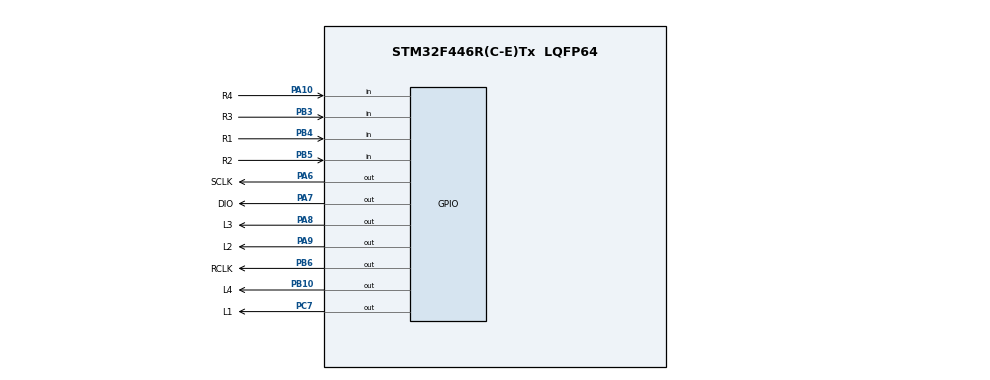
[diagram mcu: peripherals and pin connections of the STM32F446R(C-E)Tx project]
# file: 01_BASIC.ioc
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Mcu.Family=STM32F4
Mcu.Name=STM32F446R(C-E)Tx
Mcu.Package=LQFP64
NVIC.PriorityGroup=NVIC_PRIORITYGROUP_4
NVIC.TIM6_DAC_IRQn=true\:1\:0\:true\:false\:true\:true\:true\:true
NVIC.TIM7_IRQn=true\:0\:0\:false\:false\:true\:true\:true\:true
PA10.GPIO_Label=R4
PA10.GPIO_PuPd=GPIO_PULLUP
PA10.Signal=GPIO_Input
PA6.GPIO_Label=SCLK
PA6.Signal=GPIO_Output
PA7.GPIO_Label=DIO
PA7.Signal=GPIO_Output
PA8.GPIO_Label=L3
PA8.Signal=GPIO_Output
PA9.GPIO_Label=L2
PA9.Signal=GPIO_Output
PB10.GPIO_Label=L4
PB10.Signal=GPIO_Output
PB3.GPIO_Label=R3
PB3.GPIO_PuPd=GPIO_PULLUP
PB3.Signal=GPIO_Input
PB4.GPIO_Label=R1
PB4.GPIO_PuPd=GPIO_PULLUP
PB4.Signal=GPIO_Input
PB5.GPIO_Label=R2
PB5.GPIO_PuPd=GPIO_PULLUP
PB5.Signal=GPIO_Input
PB6.GPIO_Label=RCLK
PB6.Signal=GPIO_Output
PC7.GPIO_Label=L1
PC7.Signal=GPIO_Output
ProjectManager.HeapSize=0x200
ProjectManager.StackSize=0x400
ProjectManager.TargetToolchain=STM32CubeIDE
RCC.CortexFreq_Value=16000000
RCC.USBFreq_Value=96000000
RCC.VCOOutputFreq_Value=192000000
TIM6.Period=499
TIM6.Prescaler=15999
TIM7.Period=9
TIM7.Prescaler=1599
VP_TIM6_VS_ClockSourceINT.Mode=Enable_Timer
VP_TIM7_VS_ClockSourceINT.Mode=Enable_Timer
board=custom

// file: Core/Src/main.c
/* USER CODE BEGIN Header */
/**
  ******************************************************************************
  * @file           : main.c
  * @brief          : Main program body
  ******************************************************************************
  * @attention
  *
  * Copyright (c) 2025 STMicroelectronics.
  * All rights reserved.
  *
  * This software is licensed under terms that can be found in the LICENSE file
  * in the root directory of this software component.
  * If no LICENSE file comes with this software, it is provided AS-IS.
  *
  ******************************************************************************
  */
/* USER CODE END Header */
#include "main.h"

 TIM_HandleTypeDef htim6;
TIM_HandleTypeDef htim7;

/* USER CODE BEGIN PV */
GPIO_TypeDef* row_port[4] = {L1_GPIO_Port, L2_GPIO_Port, L3_GPIO_Port, L4_GPIO_Port};
uint16_t     row_pin [4] = {L1_Pin,      L2_Pin,      L3_Pin,      L4_Pin     };

GPIO_TypeDef* col_port[4] = {R1_GPIO_Port, R2_GPIO_Port, R3_GPIO_Port, R4_GPIO_Port};
uint16_t     col_pin [4] = {R1_Pin,      R2_Pin,      R3_Pin,      R4_Pin     };

#define MAX_SID_LEN 10
const uint8_t LED_CODE[] = {
  0xF9, // 1
  0xA4, // 2
  0xB0, // 3
  0x99, // 4
  0x92, // 5
  0x82, // 6
  0xF8, // 7
  0x80, // 8
  0x90, // 9
  0xFF, // *
  0xC0, // 0
  0xFF, // #
};
uint8_t LED_BUF[8] = {0xFF,0xFF,0xFF,0xFF,0xFF,0xFF,0xFF,0xFF};
uint8_t disp_ind = 0;
uint8_t cur_row=0, cur_col, key_value;

uint8_t sid_buf[MAX_SID_LEN];
uint8_t sid_len=0, sid_scroll_len=0, scroll_idx=0;
int8_t  scroll_dir=1;
uint8_t input_mode=0;

/* USER CODE END PV */

void SystemClock_Config(void);
static void MX_GPIO_Init(void);
static void MX_TIM7_Init(void);
static void MX_TIM6_Init(void);

/* USER CODE BEGIN 0 */
void out_595(uint8_t data)
{
  for (int i = 0; i < 8; i++) {
    HAL_GPIO_WritePin(SCLK_GPIO_Port, SCLK_Pin, GPIO_PIN_RESET);
    if (data & (0x80 >> i))
      HAL_GPIO_WritePin(DIO_GPIO_Port, DIO_Pin, GPIO_PIN_SET);
    else
      HAL_GPIO_WritePin(DIO_GPIO_Port, DIO_Pin, GPIO_PIN_RESET);
    HAL_GPIO_WritePin(SCLK_GPIO_Port, SCLK_Pin, GPIO_PIN_SET);
  }
}
/* USER CODE END 0 */

int main(void)
{

  /* MCU Configuration--------------------------------------------------------*/

  /* Reset of all peripherals, Initializes the Flash interface and the Systick. */
  HAL_Init();

  /* Configure the system clock */
  SystemClock_Config();

  /* Initialize all configured peripherals */
  MX_GPIO_Init();
  MX_TIM7_Init();
  MX_TIM6_Init();
  /* USER CODE BEGIN 2 */
  HAL_TIM_Base_Start_IT(&htim7);
  __HAL_TIM_DISABLE_IT(&htim6, TIM_IT_UPDATE);
  __HAL_TIM_DISABLE(&htim6);

  /* USER CODE END 2 */

  /* Infinite loop */
  /* USER CODE BEGIN WHILE */
  while (1)
  {
    /* 行拉高，逐行扫描 */
        for (int i = 0; i < 4; i++)
            HAL_GPIO_WritePin(row_port[i], row_pin[i], GPIO_PIN_SET);
        HAL_GPIO_WritePin(row_port[cur_row], row_pin[cur_row], GPIO_PIN_RESET);

        /* 只扫描前三列 */
        for (cur_col = 0; cur_col < 3; cur_col++) {
            if (HAL_GPIO_ReadPin(col_port[cur_col], col_pin[cur_col]) == GPIO_PIN_RESET) {
                HAL_Delay(20);
                if (HAL_GPIO_ReadPin(col_port[cur_col], col_pin[cur_col]) == GPIO_PIN_RESET) {
                    key_value = cur_row * 3 + cur_col;
                    /* # 键切换模�? */
                    if (key_value == 11) {
                        if (!input_mode) {
                            input_mode = 1; sid_len = 0; scroll_idx = 0;
                            for (int j = 0; j < 8; j++) LED_BUF[j] = 0xFF;
                            __HAL_TIM_DISABLE_IT(&htim6, TIM_IT_UPDATE);
                            __HAL_TIM_DISABLE(&htim6);
                        } else {
                            input_mode = 0;
                            sid_scroll_len = sid_len + 2;
                            scroll_idx = 0;
                            __HAL_TIM_CLEAR_IT(&htim6, TIM_IT_UPDATE);
                            __HAL_TIM_ENABLE_IT(&htim6, TIM_IT_UPDATE);
                            __HAL_TIM_ENABLE(&htim6);
                        }
                    }
                    else if (input_mode) {
                        if ((key_value <= 8 || key_value == 10 ) && sid_len < MAX_SID_LEN)
                        {
                            sid_buf[sid_len++] = key_value;
                            //for (int j = 7; j > 0; j--) LED_BUF[j] = LED_BUF[j-1];
                            //LED_BUF[0] = LED_CODE[key_value];
                          for (int j = 0; j < 7; j++)
                            LED_BUF[j] = LED_BUF[j+1];
                          LED_BUF[7] = LED_CODE[key_value];
                        }
                    }
                    else {

                        if (key_value == 9) scroll_dir = -scroll_dir;
                    }
                    while (HAL_GPIO_ReadPin(col_port[cur_col], col_pin[cur_col]) == GPIO_PIN_RESET);
                    HAL_Delay(20);
                    break;
                }
            }
        }
        cur_row = (cur_row + 1) & 0x03;
    /* USER CODE END WHILE */

  }
}

void SystemClock_Config(void)
{
  RCC_OscInitTypeDef RCC_OscInitStruct = {0};
  RCC_ClkInitTypeDef RCC_ClkInitStruct = {0};

  /** Configure the main internal regulator output voltage
  */
  __HAL_RCC_PWR_CLK_ENABLE();
  __HAL_PWR_VOLTAGESCALING_CONFIG(PWR_REGULATOR_VOLTAGE_SCALE3);

  /** Initializes the RCC Oscillators according to the specified parameters
  * in the RCC_OscInitTypeDef structure.
  */
  RCC_OscInitStruct.OscillatorType = RCC_OSCILLATORTYPE_HSI;
  RCC_OscInitStruct.HSIState = RCC_HSI_ON;
  RCC_OscInitStruct.HSICalibrationValue = RCC_HSICALIBRATION_DEFAULT;
  RCC_OscInitStruct.PLL.PLLState = RCC_PLL_NONE;
  if (HAL_RCC_OscConfig(&RCC_OscInitStruct) != HAL_OK)
  {
    Error_Handler();
  }

  /** Initializes the CPU, AHB and APB buses clocks
  */
  RCC_ClkInitStruct.ClockType = RCC_CLOCKTYPE_HCLK|RCC_CLOCKTYPE_SYSCLK
                              |RCC_CLOCKTYPE_PCLK1|RCC_CLOCKTYPE_PCLK2;
  RCC_ClkInitStruct.SYSCLKSource = RCC_SYSCLKSOURCE_HSI;
  RCC_ClkInitStruct.AHBCLKDivider = RCC_SYSCLK_DIV1;
  RCC_ClkInitStruct.APB1CLKDivider = RCC_HCLK_DIV1;
  RCC_ClkInitStruct.APB2CLKDivider = RCC_HCLK_DIV1;

  if (HAL_RCC_ClockConfig(&RCC_ClkInitStruct, FLASH_LATENCY_0) != HAL_OK)
  {
    Error_Handler();
  }
}

static void MX_TIM6_Init(void)
{

  TIM_MasterConfigTypeDef sMasterConfig = {0};

  htim6.Instance = TIM6;
  htim6.Init.Prescaler = 15999;
  htim6.Init.CounterMode = TIM_COUNTERMODE_UP;
  htim6.Init.Period = 499;
  htim6.Init.AutoReloadPreload = TIM_AUTORELOAD_PRELOAD_DISABLE;
  if (HAL_TIM_Base_Init(&htim6) != HAL_OK)
  {
    Error_Handler();
  }
  sMasterConfig.MasterOutputTrigger = TIM_TRGO_RESET;
  sMasterConfig.MasterSlaveMode = TIM_MASTERSLAVEMODE_DISABLE;
  if (HAL_TIMEx_MasterConfigSynchronization(&htim6, &sMasterConfig) != HAL_OK)
  {
    Error_Handler();
  }

}

static void MX_TIM7_Init(void)
{

  TIM_MasterConfigTypeDef sMasterConfig = {0};

  htim7.Instance = TIM7;
  htim7.Init.Prescaler = 1599;
  htim7.Init.CounterMode = TIM_COUNTERMODE_UP;
  htim7.Init.Period = 9;
  htim7.Init.AutoReloadPreload = TIM_AUTORELOAD_PRELOAD_DISABLE;
  if (HAL_TIM_Base_Init(&htim7) != HAL_OK)
  {
    Error_Handler();
  }
  sMasterConfig.MasterOutputTrigger = TIM_TRGO_RESET;
  sMasterConfig.MasterSlaveMode = TIM_MASTERSLAVEMODE_DISABLE;
  if (HAL_TIMEx_MasterConfigSynchronization(&htim7, &sMasterConfig) != HAL_OK)
  {
    Error_Handler();
  }

}

static void MX_GPIO_Init(void)
{
  GPIO_InitTypeDef GPIO_InitStruct = {0};

  /* GPIO Ports Clock Enable */
  __HAL_RCC_GPIOA_CLK_ENABLE();
  __HAL_RCC_GPIOB_CLK_ENABLE();
  __HAL_RCC_GPIOC_CLK_ENABLE();

  /*Configure GPIO pin Output Level */
  HAL_GPIO_WritePin(GPIOA, SCLK_Pin|DIO_Pin|L3_Pin|L2_Pin, GPIO_PIN_RESET);

  /*Configure GPIO pin Output Level */
  HAL_GPIO_WritePin(GPIOB, L4_Pin|RCLK_Pin, GPIO_PIN_RESET);

  /*Configure GPIO pin Output Level */
  HAL_GPIO_WritePin(L1_GPIO_Port, L1_Pin, GPIO_PIN_RESET);

  /*Configure GPIO pins : SCLK_Pin DIO_Pin L3_Pin L2_Pin */
  GPIO_InitStruct.Pin = SCLK_Pin|DIO_Pin|L3_Pin|L2_Pin;
  GPIO_InitStruct.Mode = GPIO_MODE_OUTPUT_PP;
  GPIO_InitStruct.Pull = GPIO_NOPULL;
  GPIO_InitStruct.Speed = GPIO_SPEED_FREQ_LOW;
  HAL_GPIO_Init(GPIOA, &GPIO_InitStruct);

  /*Configure GPIO pins : L4_Pin RCLK_Pin */
  GPIO_InitStruct.Pin = L4_Pin|RCLK_Pin;
  GPIO_InitStruct.Mode = GPIO_MODE_OUTPUT_PP;
  GPIO_InitStruct.Pull = GPIO_NOPULL;
  GPIO_InitStruct.Speed = GPIO_SPEED_FREQ_LOW;
  HAL_GPIO_Init(GPIOB, &GPIO_InitStruct);

  /*Configure GPIO pin : L1_Pin */
  GPIO_InitStruct.Pin = L1_Pin;
  GPIO_InitStruct.Mode = GPIO_MODE_OUTPUT_PP;
  GPIO_InitStruct.Pull = GPIO_NOPULL;
  GPIO_InitStruct.Speed = GPIO_SPEED_FREQ_LOW;
  HAL_GPIO_Init(L1_GPIO_Port, &GPIO_InitStruct);

  /*Configure GPIO pin : R4_Pin */
  GPIO_InitStruct.Pin = R4_Pin;
  GPIO_InitStruct.Mode = GPIO_MODE_INPUT;
  GPIO_InitStruct.Pull = GPIO_PULLUP;
  HAL_GPIO_Init(R4_GPIO_Port, &GPIO_InitStruct);

  /*Configure GPIO pins : R3_Pin R1_Pin R2_Pin */
  GPIO_InitStruct.Pin = R3_Pin|R1_Pin|R2_Pin;
  GPIO_InitStruct.Mode = GPIO_MODE_INPUT;
  GPIO_InitStruct.Pull = GPIO_PULLUP;
  HAL_GPIO_Init(GPIOB, &GPIO_InitStruct);

}

/* USER CODE BEGIN 4 */
void HAL_TIM_PeriodElapsedCallback(TIM_HandleTypeDef *htim)
{
  if (htim->Instance == TIM7) {
    /* 刷新动�?�数码管 */
    HAL_GPIO_WritePin(RCLK_GPIO_Port, RCLK_Pin, GPIO_PIN_RESET);
    out_595(LED_BUF[disp_ind]);
    out_595(1 << disp_ind);
    HAL_GPIO_WritePin(RCLK_GPIO_Port, RCLK_Pin, GPIO_PIN_SET);
    disp_ind = (disp_ind + 1) & 0x07;
  }
  else if (htim->Instance == TIM6) {
    /* 滚动学号 */
    uint8_t idx;
    for (int i = 0; i < 8; i++) {
      idx = (scroll_idx + i) % sid_scroll_len;
      if (idx < sid_len) LED_BUF[i] = LED_CODE[sid_buf[idx]];
      else               LED_BUF[i] = 0xFF;
    }
    scroll_idx = (scroll_idx + scroll_dir + sid_scroll_len) % sid_scroll_len;
  }
}

/* USER CODE END 4 */

void Error_Handler(void)
{
  __disable_irq();
  while (1)
  {
  }
}
